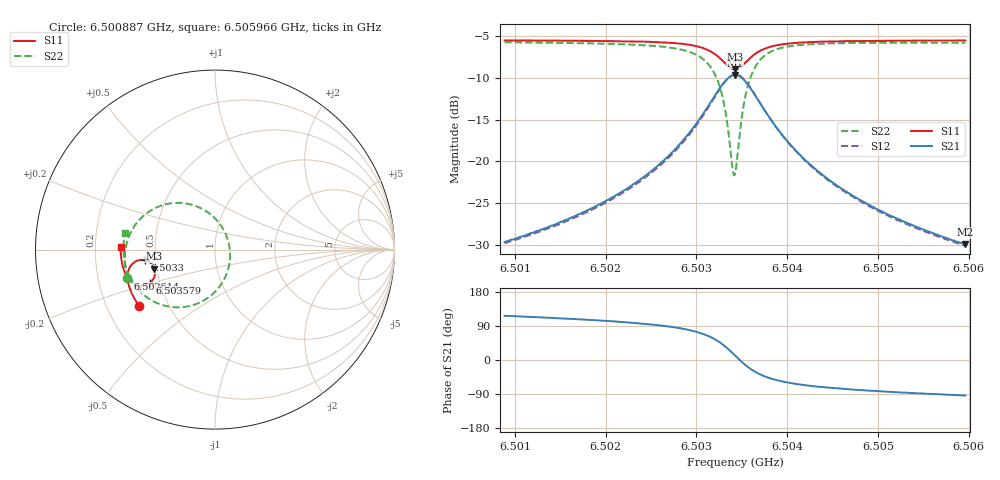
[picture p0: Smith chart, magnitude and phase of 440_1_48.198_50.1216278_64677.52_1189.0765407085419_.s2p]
#  HZ  S  RI  R  50.00
! Rohde & Schwarz Vector Network Analyzer
! Rohde-Schwarz,ZNB20-2Port,1311601062101988,3.16
! Created: UTC 3/20/2024, 11:55:47 AM
! freq[Hz]  re:S11  im:S11  re:S21  im:S21  re:S12  im:S12  re:S22  im:S22
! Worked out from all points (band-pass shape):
!   401 points, 6.500887 GHz to 6.505966 GHz, reference 50 ohm
!   highest |S21| = -9.68 dB at 6.503427 GHz (marker M1); lowest = -29.9 dB at 6.505966 GHz (marker M2)
!   |S21| within 3 dB of the highest: 6.503173 GHz to 6.503681 GHz (507.9 kHz wide, 0.00781 % of centre)
!   lowest |S11| = -9.0 dB at 6.503427 GHz (marker M3), VSWR 2.10, Z = 24.3 - j5.95 ohm
!   |S11| at or under -10 dB: nowhere
!   |S22| runs from -21.7 to -5.8 dB; largest |S21 - S12| = 0.012
!   S11 on the Smith chart (normalised r, x): 6.500887 GHz: 0.34, -0.29; 6.502614 GHz: 0.33, -0.15; 6.5033 GHz: 0.44, -0.06; 6.503579 GHz: 0.44, -0.20; 6.505966 GHz: 0.31, +0.01
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6.5008873e9  -0.4237 -0.3126  -0.0149 0.0296  -0.0132 0.0297  -0.4876 -0.1606
6.5017379e9  -0.4605 -0.2503  -0.0144 0.0473  -0.012 0.0468  -0.5019 -0.0712
6.5022331e9  -0.4781 -0.2064  -0.0113 0.0678  -0.00821 0.0666  -0.4989 -0.00124
6.5025886e9  -0.4866 -0.1673  -0.00262 0.0958  0.000908 0.0934  -0.4806 0.0697
6.5026139e9  -0.4868 -0.164  -0.00158 0.0983  0.00213 0.0959  -0.4782 0.076
6.502906e9  -0.4833 -0.1194  0.0253 0.1419  0.0292 0.1376  -0.4224 0.1647
6.5030964e9  -0.4624 -0.0813  0.0789 0.1842  0.0815 0.1777  -0.3201 0.2373
6.5032107e9  -0.4301 -0.0605  0.1475 0.2017  0.1484 0.1954  -0.1966 0.2602
6.5032995e9  -0.3899 -0.0585  0.2266 0.1861  0.2271 0.1809  -0.0601 0.2209
6.5033376e9  -0.3706 -0.0661  0.2628 0.1633  0.2638 0.1586  -0.000239 0.1746
6.5034011e9  -0.3438 -0.0926  0.3107 0.0998  0.3133 0.0947  0.0722 0.0524
6.5034265e9  -0.3375 -0.1071  0.321 0.0676  0.3243 0.0618  0.0834 -0.00758
6.5034519e9  -0.3344 -0.1228  0.3247 0.0342  0.3282 0.027  0.0819 -0.0686
6.5035154e9  -0.3414 -0.1599  0.3069 -0.0438  0.3092 -0.0539  0.0269 -0.2039
6.5035789e9  -0.3624 -0.1859  0.2644 -0.0981  0.2632 -0.1095  -0.0692 -0.2872
6.5036804e9  -0.4021 -0.2012  0.1898 -0.1342  0.1844 -0.1439  -0.219 -0.3216
6.5038455e9  -0.4481 -0.1916  0.1081 -0.1313  0.1011 -0.1365  -0.366 -0.2753
6.5040232e9  -0.4755 -0.1701  0.0638 -0.1114  0.0576 -0.1137  -0.438 -0.2107
6.5042771e9  -0.4962 -0.1403  0.0339 -0.0874  0.0291 -0.0878  -0.4812 -0.1387
6.5046707e9  -0.5121 -0.0994  0.0145 -0.0636  0.0112 -0.0633  -0.5041 -0.0619
6.5051278e9  -0.5212 -0.0574  0.0051 -0.0477  0.00271 -0.047  -0.51 0.00172
6.5059657e9  -0.5259 0.0135  -0.00204 -0.032  -0.00332 -0.0311  -0.502 0.0898
